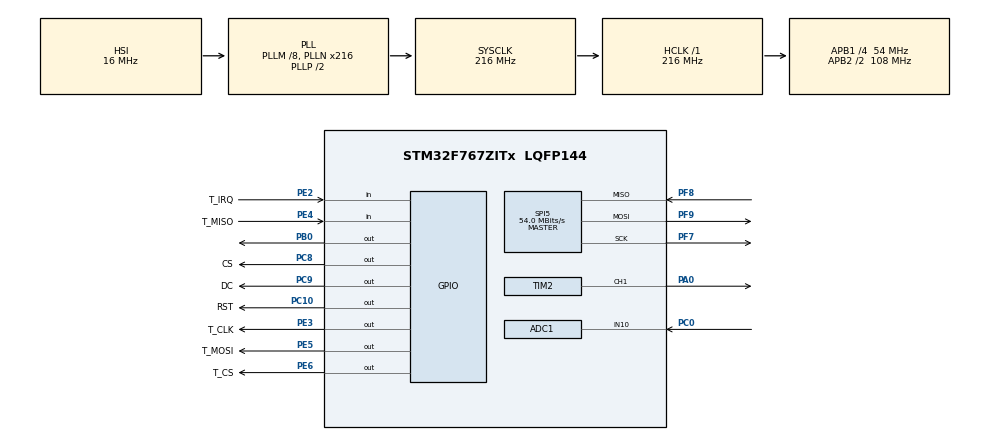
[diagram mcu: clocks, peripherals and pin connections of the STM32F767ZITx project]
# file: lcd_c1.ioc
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ADC1.Channel-0\#ChannelRegularConversion=ADC_CHANNEL_10
ADC1.ContinuousConvMode=ENABLE
ADC1.EOCSelection=ADC_EOC_SEQ_CONV
ADC1.NbrOfConversionFlag=1
ADC1.Rank-0\#ChannelRegularConversion=1
ADC1.SamplingTime-0\#ChannelRegularConversion=ADC_SAMPLETIME_3CYCLES
ADC1.master=1
CORTEX_M7.ART_ACCELERATOR_ENABLE=1
CORTEX_M7.CPU_DCache=Enabled
CORTEX_M7.CPU_ICache=Enabled
CORTEX_M7.MPU_Control=__NULL
CORTEX_M7.PREFETCH_ENABLE=1
CORTEX_M7.default_mode_Activation=1
Mcu.Family=STM32F7
Mcu.Name=STM32F767ZITx
Mcu.Package=LQFP144
NVIC.PriorityGroup=NVIC_PRIORITYGROUP_4
PA0/WKUP.Signal=S_TIM2_CH1_ETR
PB0.Signal=GPIO_Output
PC0.Signal=ADCx_IN10
PC10.GPIO_Label=RST
PC10.Signal=GPIO_Output
PC8.GPIO_Label=CS
PC8.Signal=GPIO_Output
PC9.GPIO_Label=DC
PC9.Signal=GPIO_Output
PE2.GPIO_Label=T_IRQ
PE2.Signal=GPIO_Input
PE3.GPIO_Label=T_CLK
PE3.Signal=GPIO_Output
PE4.GPIO_Label=T_MISO
PE4.Signal=GPIO_Input
PE5.GPIO_Label=T_MOSI
PE5.Signal=GPIO_Output
PE6.GPIO_Label=T_CS
PE6.Signal=GPIO_Output
PF7.Mode=Full_Duplex_Master
PF7.Signal=SPI5_SCK
PF8.Mode=Full_Duplex_Master
PF8.Signal=SPI5_MISO
PF9.Mode=Full_Duplex_Master
PF9.Signal=SPI5_MOSI
ProjectManager.HeapSize=0x200
ProjectManager.StackSize=0x400
ProjectManager.TargetToolchain=STM32CubeIDE
RCC.AHBFreq_Value=216000000
RCC.APB1CLKDivider=RCC_HCLK_DIV4
RCC.APB1Freq_Value=54000000
RCC.APB1TimFreq_Value=108000000
RCC.APB2CLKDivider=RCC_HCLK_DIV2
RCC.APB2Freq_Value=108000000
RCC.APB2TimFreq_Value=216000000
RCC.CortexFreq_Value=216000000
RCC.HCLKFreq_Value=216000000
RCC.HSE_VALUE=25000000
RCC.HSI_VALUE=16000000
RCC.LSE_VALUE=32768
RCC.PLLM=8
RCC.PLLN=216
RCC.PLLQ=9
RCC.SYSCLKFreq_VALUE=216000000
RCC.SYSCLKSource=RCC_SYSCLKSOURCE_PLLCLK
RCC.USBFreq_Value=48000000
RCC.VCOOutputFreq_Value=432000000
SH.ADCx_IN10.0=ADC1_IN10,IN10
SH.S_TIM2_CH1_ETR.0=TIM2_CH1,PWM Generation1 CH1
SPI5.CalculateBaudRate=54.0 MBits/s
SPI5.DataSize=SPI_DATASIZE_8BIT
SPI5.Direction=SPI_DIRECTION_2LINES
SPI5.Mode=SPI_MODE_MASTER
SPI5.VirtualType=VM_MASTER
TIM1.Period=1000-1
TIM1.Prescaler=216-1
TIM2.Channel-PWM\ Generation1\ CH1=TIM_CHANNEL_1
TIM2.Period=1000-1
TIM2.Prescaler=108-1
TIM2.Pulse-PWM\ Generation1\ CH1=1000/4-1
VP_RNG_VS_RNG.Mode=RNG_Activate
VP_TIM1_VS_ClockSourceINT.Mode=Internal
VP_TIM2_VS_ClockSourceINT.Mode=Internal
board=custom

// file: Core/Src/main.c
/* USER CODE BEGIN Header */
/**
  ******************************************************************************
  * @file           : main.c
  * @brief          : Main program body
  ******************************************************************************
  * @attention
  *
  * Copyright (c) 2025 STMicroelectronics.
  * All rights reserved.
  *
  * This software is licensed under terms that can be found in the LICENSE file
  * in the root directory of this software component.
  * If no LICENSE file comes with this software, it is provided AS-IS.
  *
  ******************************************************************************
  */
/* USER CODE END Header */
#include "main.h"

/* USER CODE BEGIN Includes */
#include "ILI9341_Touchscreen.h"
#include "ILI9341_STM32_Driver.h"
#include "ILI9341_GFX.h"

static uint8_t blink_state = 0;
#include "stdio.h"
#include "string.h"
/* USER CODE END Includes */

/* USER CODE BEGIN PD */
int DutyCycle = 20;
uint32_t duty_cycle;
uint16_t avr_8;
char show[50];
char buffer[40];

static uint8_t last_duty = 0;
static uint16_t last_color = GREEN;
/* USER CODE END PD */

ADC_HandleTypeDef hadc1;

RNG_HandleTypeDef hrng;

SPI_HandleTypeDef hspi5;

TIM_HandleTypeDef htim1;
TIM_HandleTypeDef htim2;

void SystemClock_Config(void);
static void MX_GPIO_Init(void);
static void MX_ADC1_Init(void);
static void MX_RNG_Init(void);
static void MX_SPI5_Init(void);
static void MX_TIM1_Init(void);
static void MX_TIM2_Init(void);

int main(void)
{

  /* USER CODE BEGIN 1 */
	void PWM_SetDutyCycle(uint8_t duty) {
		uint32_t pulse = (duty * (__HAL_TIM_GET_AUTORELOAD(&htim2))) / 100;
		__HAL_TIM_SET_COMPARE(&htim2, TIM_CHANNEL_1, pulse);
	}
  /* USER CODE END 1 */

  /* Enable the CPU Cache */

  /* Enable I-Cache---------------------------------------------------------*/
  SCB_EnableICache();

  /* Enable D-Cache---------------------------------------------------------*/
  SCB_EnableDCache();

  /* MCU Configuration--------------------------------------------------------*/

  /* Reset of all peripherals, Initializes the Flash interface and the Systick. */
  HAL_Init();

  /* Configure the system clock */
  SystemClock_Config();

  /* Initialize all configured peripherals */
  MX_GPIO_Init();
  MX_ADC1_Init();
  MX_RNG_Init();
  MX_SPI5_Init();
  MX_TIM1_Init();
  MX_TIM2_Init();
  /* USER CODE BEGIN 2 */
  ILI9341_Init();
  ILI9341_Set_Rotation(SCREEN_HORIZONTAL_1);  // หมุนหน้าจอเป็นแนวนอน
  ILI9341_Fill_Screen(GREEN);

  HAL_TIM_PWM_Start(&htim2, TIM_CHANNEL_1);
  __HAL_TIM_SET_COMPARE(&htim2, TIM_CHANNEL_1, DutyCycle);

  HAL_ADC_Start(&hadc1);
  /* USER CODE END 2 */

  /* Infinite loop */
  while (1)
  {

    /* USER CODE BEGIN 3 */
	  while (HAL_ADC_PollForConversion(&hadc1, 1000) != HAL_OK){}
	 	  int adc_value = HAL_ADC_GetValue(&hadc1);

	 	  // แปลงค่า ADC (0-4095) เป็น Duty Cycle (25% - 80%)
	 	  uint8_t duty = 25 + ((adc_value * 55) / 4095);

	 	  // ปรับค่าเป็นขั้นละ 5% (เช่น 25%, 30%, 35%, ..., 80%) ((duty + 2) / 5) * 5
	 	  // ปรับค่าเป็นขั้นละ 10% (เช่น 25%, 30%, 35%, ..., 80%) ((duty + 5) / 10) * 10
	 	  duty = ((duty + 2) / 5) * 5;

	 	  PWM_SetDutyCycle(duty);

	 	 // อัปเดตหน้าจอเมื่อค่าเปลี่ยนแปลงเท่านั้น
	 	        uint16_t new_color;
	 	        if (duty > 25 && duty <= 45) {
	 	            new_color = GREEN;
	 	        } else if (duty > 45 && duty <= 65) {
	 	            new_color = RED;
	 	        } else if (duty > 65 && duty <= 80) {
	 	            new_color = BLUE;
	 	        }

	 	        if (new_color != last_color) {
	 	            last_color = new_color;
	 	            ILI9341_Fill_Screen(last_color);
	 	        }

	 	        if (duty != last_duty || duty > 65 && duty <= 80) {
	 	            last_duty = duty;
	 	            snprintf(show, sizeof(show), "%d", duty);
	 	            ILI9341_Draw_Filled_Rectangle_Coord(140, 100, 100, 40, last_color); // เคลียร์ตัวเลขเก่า
	 	            ILI9341_Draw_Text(show, 140, 100, YELLOW, 5, last_color);
	 	           // กระพริบตัวหนังสือเมื่ออยู่ในช่วง 65-80%
	 	           if (duty > 65 && duty <= 80) {
	 	                           blink_state = !blink_state;
	 	                           ILI9341_Draw_Text(show, 140, 100, blink_state ? CYAN : last_color, 5, last_color);
	 	                           HAL_Delay(500);
	 	                      } else if(duty > 25 && duty <= 45){
	 	                          ILI9341_Draw_Text(show, 140, 100, YELLOW, 5, last_color);
	 	                      } else if(duty > 45 && duty <= 65){
	 	       	 	              ILI9341_Draw_Text(show, 140, 100, BLUE, 5, last_color);
	 	       	 	          }

	 	        }
	 	        HAL_Delay(100);
  }
  /* USER CODE END 3 */
}

void SystemClock_Config(void)
{
  RCC_OscInitTypeDef RCC_OscInitStruct = {0};
  RCC_ClkInitTypeDef RCC_ClkInitStruct = {0};

  /** Configure the main internal regulator output voltage
  */
  __HAL_RCC_PWR_CLK_ENABLE();
  __HAL_PWR_VOLTAGESCALING_CONFIG(PWR_REGULATOR_VOLTAGE_SCALE1);

  /** Initializes the RCC Oscillators according to the specified parameters
  * in the RCC_OscInitTypeDef structure.
  */
  RCC_OscInitStruct.OscillatorType = RCC_OSCILLATORTYPE_HSI;
  RCC_OscInitStruct.HSIState = RCC_HSI_ON;
  RCC_OscInitStruct.HSICalibrationValue = RCC_HSICALIBRATION_DEFAULT;
  RCC_OscInitStruct.PLL.PLLState = RCC_PLL_ON;
  RCC_OscInitStruct.PLL.PLLSource = RCC_PLLSOURCE_HSI;
  RCC_OscInitStruct.PLL.PLLM = 8;
  RCC_OscInitStruct.PLL.PLLN = 216;
  RCC_OscInitStruct.PLL.PLLP = RCC_PLLP_DIV2;
  RCC_OscInitStruct.PLL.PLLQ = 9;
  RCC_OscInitStruct.PLL.PLLR = 2;
  if (HAL_RCC_OscConfig(&RCC_OscInitStruct) != HAL_OK)
  {
    Error_Handler();
  }

  /** Activate the Over-Drive mode
  */
  if (HAL_PWREx_EnableOverDrive() != HAL_OK)
  {
    Error_Handler();
  }

  /** Initializes the CPU, AHB and APB buses clocks
  */
  RCC_ClkInitStruct.ClockType = RCC_CLOCKTYPE_HCLK|RCC_CLOCKTYPE_SYSCLK
                              |RCC_CLOCKTYPE_PCLK1|RCC_CLOCKTYPE_PCLK2;
  RCC_ClkInitStruct.SYSCLKSource = RCC_SYSCLKSOURCE_PLLCLK;
  RCC_ClkInitStruct.AHBCLKDivider = RCC_SYSCLK_DIV1;
  RCC_ClkInitStruct.APB1CLKDivider = RCC_HCLK_DIV4;
  RCC_ClkInitStruct.APB2CLKDivider = RCC_HCLK_DIV2;

  if (HAL_RCC_ClockConfig(&RCC_ClkInitStruct, FLASH_LATENCY_7) != HAL_OK)
  {
    Error_Handler();
  }
}

static void MX_ADC1_Init(void)
{

  ADC_ChannelConfTypeDef sConfig = {0};

  /** Configure the global features of the ADC (Clock, Resolution, Data Alignment and number of conversion)
  */
  hadc1.Instance = ADC1;
  hadc1.Init.ClockPrescaler = ADC_CLOCK_SYNC_PCLK_DIV4;
  hadc1.Init.Resolution = ADC_RESOLUTION_12B;
  hadc1.Init.ScanConvMode = ADC_SCAN_DISABLE;
  hadc1.Init.ContinuousConvMode = ENABLE;
  hadc1.Init.DiscontinuousConvMode = DISABLE;
  hadc1.Init.ExternalTrigConvEdge = ADC_EXTERNALTRIGCONVEDGE_NONE;
  hadc1.Init.ExternalTrigConv = ADC_SOFTWARE_START;
  hadc1.Init.DataAlign = ADC_DATAALIGN_RIGHT;
  hadc1.Init.NbrOfConversion = 1;
  hadc1.Init.DMAContinuousRequests = DISABLE;
  hadc1.Init.EOCSelection = ADC_EOC_SEQ_CONV;
  if (HAL_ADC_Init(&hadc1) != HAL_OK)
  {
    Error_Handler();
  }

  /** Configure for the selected ADC regular channel its corresponding rank in the sequencer and its sample time.
  */
  sConfig.Channel = ADC_CHANNEL_10;
  sConfig.Rank = ADC_REGULAR_RANK_1;
  sConfig.SamplingTime = ADC_SAMPLETIME_3CYCLES;
  if (HAL_ADC_ConfigChannel(&hadc1, &sConfig) != HAL_OK)
  {
    Error_Handler();
  }

}

static void MX_RNG_Init(void)
{

  hrng.Instance = RNG;
  if (HAL_RNG_Init(&hrng) != HAL_OK)
  {
    Error_Handler();
  }

}

static void MX_SPI5_Init(void)
{

  /* SPI5 parameter configuration*/
  hspi5.Instance = SPI5;
  hspi5.Init.Mode = SPI_MODE_MASTER;
  hspi5.Init.Direction = SPI_DIRECTION_2LINES;
  hspi5.Init.DataSize = SPI_DATASIZE_8BIT;
  hspi5.Init.CLKPolarity = SPI_POLARITY_LOW;
  hspi5.Init.CLKPhase = SPI_PHASE_1EDGE;
  hspi5.Init.NSS = SPI_NSS_SOFT;
  hspi5.Init.BaudRatePrescaler = SPI_BAUDRATEPRESCALER_2;
  hspi5.Init.FirstBit = SPI_FIRSTBIT_MSB;
  hspi5.Init.TIMode = SPI_TIMODE_DISABLE;
  hspi5.Init.CRCCalculation = SPI_CRCCALCULATION_DISABLE;
  hspi5.Init.CRCPolynomial = 7;
  hspi5.Init.CRCLength = SPI_CRC_LENGTH_DATASIZE;
  hspi5.Init.NSSPMode = SPI_NSS_PULSE_ENABLE;
  if (HAL_SPI_Init(&hspi5) != HAL_OK)
  {
    Error_Handler();
  }

}

static void MX_TIM1_Init(void)
{

  TIM_ClockConfigTypeDef sClockSourceConfig = {0};
  TIM_MasterConfigTypeDef sMasterConfig = {0};

  htim1.Instance = TIM1;
  htim1.Init.Prescaler = 216-1;
  htim1.Init.CounterMode = TIM_COUNTERMODE_UP;
  htim1.Init.Period = 1000-1;
  htim1.Init.ClockDivision = TIM_CLOCKDIVISION_DIV1;
  htim1.Init.RepetitionCounter = 0;
  htim1.Init.AutoReloadPreload = TIM_AUTORELOAD_PRELOAD_DISABLE;
  if (HAL_TIM_Base_Init(&htim1) != HAL_OK)
  {
    Error_Handler();
  }
  sClockSourceConfig.ClockSource = TIM_CLOCKSOURCE_INTERNAL;
  if (HAL_TIM_ConfigClockSource(&htim1, &sClockSourceConfig) != HAL_OK)
  {
    Error_Handler();
  }
  sMasterConfig.MasterOutputTrigger = TIM_TRGO_RESET;
  sMasterConfig.MasterOutputTrigger2 = TIM_TRGO2_RESET;
  sMasterConfig.MasterSlaveMode = TIM_MASTERSLAVEMODE_DISABLE;
  if (HAL_TIMEx_MasterConfigSynchronization(&htim1, &sMasterConfig) != HAL_OK)
  {
    Error_Handler();
  }

}

static void MX_TIM2_Init(void)
{

  TIM_ClockConfigTypeDef sClockSourceConfig = {0};
  TIM_MasterConfigTypeDef sMasterConfig = {0};
  TIM_OC_InitTypeDef sConfigOC = {0};

  htim2.Instance = TIM2;
  htim2.Init.Prescaler = 108-1;
  htim2.Init.CounterMode = TIM_COUNTERMODE_UP;
  htim2.Init.Period = 1000-1;
  htim2.Init.ClockDivision = TIM_CLOCKDIVISION_DIV1;
  htim2.Init.AutoReloadPreload = TIM_AUTORELOAD_PRELOAD_DISABLE;
  if (HAL_TIM_Base_Init(&htim2) != HAL_OK)
  {
    Error_Handler();
  }
  sClockSourceConfig.ClockSource = TIM_CLOCKSOURCE_INTERNAL;
  if (HAL_TIM_ConfigClockSource(&htim2, &sClockSourceConfig) != HAL_OK)
  {
    Error_Handler();
  }
  if (HAL_TIM_PWM_Init(&htim2) != HAL_OK)
  {
    Error_Handler();
  }
  sMasterConfig.MasterOutputTrigger = TIM_TRGO_RESET;
  sMasterConfig.MasterSlaveMode = TIM_MASTERSLAVEMODE_DISABLE;
  if (HAL_TIMEx_MasterConfigSynchronization(&htim2, &sMasterConfig) != HAL_OK)
  {
    Error_Handler();
  }
  sConfigOC.OCMode = TIM_OCMODE_PWM1;
  sConfigOC.Pulse = 1000/4-1;
  sConfigOC.OCPolarity = TIM_OCPOLARITY_HIGH;
  sConfigOC.OCFastMode = TIM_OCFAST_DISABLE;
  if (HAL_TIM_PWM_ConfigChannel(&htim2, &sConfigOC, TIM_CHANNEL_1) != HAL_OK)
  {
    Error_Handler();
  }
  HAL_TIM_MspPostInit(&htim2);

}

static void MX_GPIO_Init(void)
{
  GPIO_InitTypeDef GPIO_InitStruct = {0};

  /* GPIO Ports Clock Enable */
  __HAL_RCC_GPIOE_CLK_ENABLE();
  __HAL_RCC_GPIOF_CLK_ENABLE();
  __HAL_RCC_GPIOC_CLK_ENABLE();
  __HAL_RCC_GPIOA_CLK_ENABLE();
  __HAL_RCC_GPIOB_CLK_ENABLE();

  /*Configure GPIO pin Output Level */
  HAL_GPIO_WritePin(GPIOE, T_CLK_Pin|T_MOSI_Pin|T_CS_Pin, GPIO_PIN_RESET);

  /*Configure GPIO pin Output Level */
  HAL_GPIO_WritePin(GPIOB, GPIO_PIN_0, GPIO_PIN_RESET);

  /*Configure GPIO pin Output Level */
  HAL_GPIO_WritePin(GPIOC, CS_Pin|DC_Pin|RST_Pin, GPIO_PIN_RESET);

  /*Configure GPIO pins : T_IRQ_Pin T_MISO_Pin */
  GPIO_InitStruct.Pin = T_IRQ_Pin|T_MISO_Pin;
  GPIO_InitStruct.Mode = GPIO_MODE_INPUT;
  GPIO_InitStruct.Pull = GPIO_NOPULL;
  HAL_GPIO_Init(GPIOE, &GPIO_InitStruct);

  /*Configure GPIO pins : T_CLK_Pin T_MOSI_Pin T_CS_Pin */
  GPIO_InitStruct.Pin = T_CLK_Pin|T_MOSI_Pin|T_CS_Pin;
  GPIO_InitStruct.Mode = GPIO_MODE_OUTPUT_PP;
  GPIO_InitStruct.Pull = GPIO_NOPULL;
  GPIO_InitStruct.Speed = GPIO_SPEED_FREQ_LOW;
  HAL_GPIO_Init(GPIOE, &GPIO_InitStruct);

  /*Configure GPIO pin : PB0 */
  GPIO_InitStruct.Pin = GPIO_PIN_0;
  GPIO_InitStruct.Mode = GPIO_MODE_OUTPUT_PP;
  GPIO_InitStruct.Pull = GPIO_NOPULL;
  GPIO_InitStruct.Speed = GPIO_SPEED_FREQ_LOW;
  HAL_GPIO_Init(GPIOB, &GPIO_InitStruct);

  /*Configure GPIO pins : CS_Pin DC_Pin RST_Pin */
  GPIO_InitStruct.Pin = CS_Pin|DC_Pin|RST_Pin;
  GPIO_InitStruct.Mode = GPIO_MODE_OUTPUT_PP;
  GPIO_InitStruct.Pull = GPIO_NOPULL;
  GPIO_InitStruct.Speed = GPIO_SPEED_FREQ_LOW;
  HAL_GPIO_Init(GPIOC, &GPIO_InitStruct);

}

void Error_Handler(void)
{
  __disable_irq();
  while (1)
  {
  }
}
